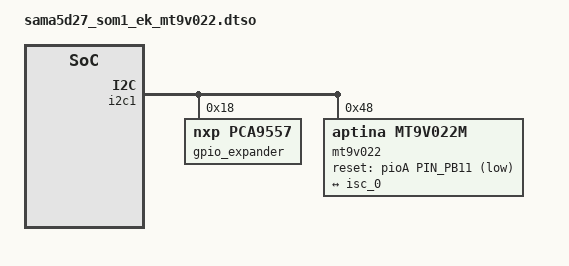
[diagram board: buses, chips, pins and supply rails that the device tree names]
// SPDX-License-Identifier: (GPL-2.0+ OR MIT)
/*
 * sama5d27_som1_ek_mt9v022.dtso - Device Tree file for SAMA5D27 SOM1 EK board
 * overlay blob for Image Sensor Controller Micron mt9v022 sensor.
 * This also includes support for board CAMx-MT9V022-EB_REVA with gpio expander
 * and programmable bit shift for ISC data lines alignment.
 *
 * Copyright (C) 2019 Microchip Technology, Inc. and its subsidiaries
 * Author: Eugen Hristev <eugen.hristev@microchip.com>
 *
 */
/dts-v1/;
/plugin/;

#include <dt-bindings/gpio/gpio.h>
#include "sama5d2-pinfunc.h"

&i2c1 {
	#address-cells = <1>;
	#size-cells = <0>;

	gpio_expander: gpio@18 {
		compatible = "nxp,pca9557";
		reg = <0x18>;
		#gpio-cells = <2>;
		ngpios = <8>;
		gpio-controller;
		gpio-line-names =
			"OE_UVC", "OE_8B_Y2_Y9", "OE_10B_Y0_Y1", "OE_10B_Y2_Y9",
			"OE_12B_Y2_Y9", "EXPOSURE", "GREEN", "RED";

		status = "okay";

		oe_12b_y2_y9 {
			gpio-hog;
			gpios = <4 GPIO_ACTIVE_HIGH>;
			output-low;
			line-name = "OE_12B_Y2_Y9";
		};

		oe_uvc {
			gpio-hog;
			gpios = <0 GPIO_ACTIVE_HIGH>;
			output-low;
			line-name = "OE_UVC";
		};

		green {
			gpio-hog;
			gpios = <6 GPIO_ACTIVE_HIGH>;
			output-high;
			line-name = "GREEN";
		};
	};

	mt9v022: camera@48 {
		compatible = "aptina,mt9v022m";
		reg = <0x48>;
		pinctrl-names = "default";
		pinctrl-0 = <&pinctrl_sensor_reset>;
		clocks = <&isc>;
		clock-names = "xvclk";
		assigned-clocks = <&isc>;
		assigned-clock-rates = <24000000>;
		reset-gpios = <&pioA PIN_PB11 GPIO_ACTIVE_LOW>;

		port {
			mt9v022_0: endpoint {
				remote-endpoint = <&isc_0>;
				bus-width = <10>;
				hsync-active = <1>;
				vsync-active = <1>;
				link-frequencies = /bits/ 64
                                        <24000000 13000000 26600000 27000000>;
				pclk-sample = <1>;
			};
		};
	};
};

&isc {
	pinctrl-0 = <&pinctrl_isc_base &pinctrl_isc_data_8bit>;

	port {
		isc_0: endpoint@0 {
			remote-endpoint = <&mt9v022_0>;
			bus-width = <10>;
			hsync-active = <1>;
			vsync-active = <1>;
		};
	};
};

&pioA {
	pinctrl_sensor_reset: sensor_reset {
		pinmux = <PIN_PB11__GPIO>;
		bias-disable;
	};
};

